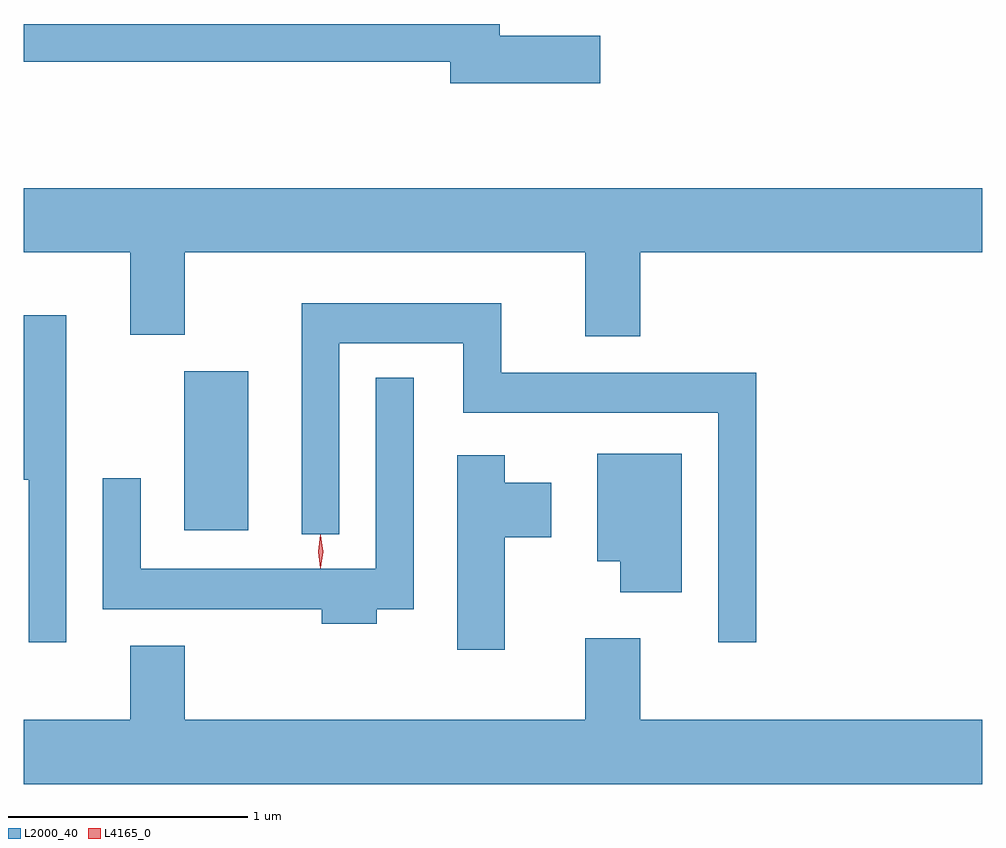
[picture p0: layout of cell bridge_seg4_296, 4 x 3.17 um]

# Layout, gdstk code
import gdstk
lib = gdstk.Library(unit=1e-6, precision=1e-09)
def R(c, l, rs):  # rectangles x0, y0, x1, y1
    for r in rs: c.add(gdstk.rectangle(r[:2], r[2:], *l))
def P(c, l, *ps):  # polygons
    for p in ps: c.add(gdstk.Polygon(p, *l))
L2000_40 = (2000, 40)
L4165_0 = (4165, 0)

bridge_seg4_296 = lib.new_cell('bridge_seg4_296')
R(bridge_seg4_296, L2000_40, [(537.906,1304.676,538.174,1305.339)])
P(bridge_seg4_296, L2000_40, [(539.644,1306.739),(539.224,1306.739),(539.224,1306.789),(537.237,1306.789),(537.237,1306.631),(539.016,1306.631),(539.016,1306.541),(539.644,1306.541)],
  [(539.809,1305.836),(541.237,1305.836),(541.237,1306.104),(537.237,1306.104),(537.237,1305.836),(537.681,1305.836),(537.681,1305.491),(537.909,1305.491),(537.909,1305.836),(539.581,1305.836),(539.581,1305.486),(539.809,1305.486)],
  [(540.294,1305.334),(539.229,1305.334),(539.229,1305.624),(538.396,1305.624),(538.396,1304.658),(538.554,1304.658),(538.554,1305.456),(539.071,1305.456),(539.071,1305.166),(540.136,1305.166),(540.136,1304.208),(540.294,1304.208)],
  [(537.414,1305.574),(537.237,1305.574),(537.237,1304.886),(537.256,1304.886),(537.256,1304.208),(537.414,1304.208)],
  [(538.709,1304.346),(538.864,1304.346),(538.864,1305.313),(538.706,1305.313),(538.706,1304.514),(537.724,1304.514),(537.724,1304.893),(537.566,1304.893),(537.566,1304.346),(538.481,1304.346),(538.481,1304.286),(538.709,1304.286)],
  [(539.984,1304.994),(539.631,1304.994),(539.631,1304.546),(539.726,1304.546),(539.726,1304.416),(539.984,1304.416)],
  [(539.244,1304.646),(539.439,1304.646),(539.439,1304.874),(539.244,1304.874),(539.244,1304.989),(539.046,1304.989),(539.046,1304.176),(539.244,1304.176)],
  [(541.237,1303.884),(539.809,1303.884),(539.809,1304.224),(539.581,1304.224),(539.581,1303.884),(537.909,1303.884),(537.909,1304.194),(537.681,1304.194),(537.681,1303.884),(537.237,1303.884),(537.237,1303.616),(541.237,1303.616)])
P(bridge_seg4_296, L4165_0, [(538.474,1304.517),(538.465,1304.586),(538.474,1304.656),(538.475,1304.656),(538.476,1304.656),(538.485,1304.586),(538.476,1304.517),(538.475,1304.517)],
  [(538.476,1304.52),(538.466,1304.586),(538.476,1304.652),(538.476,1304.653),(538.477,1304.652),(538.486,1304.586),(538.477,1304.52),(538.477,1304.52)])

lib.write_gds('bridge_seg4_296.gds')
